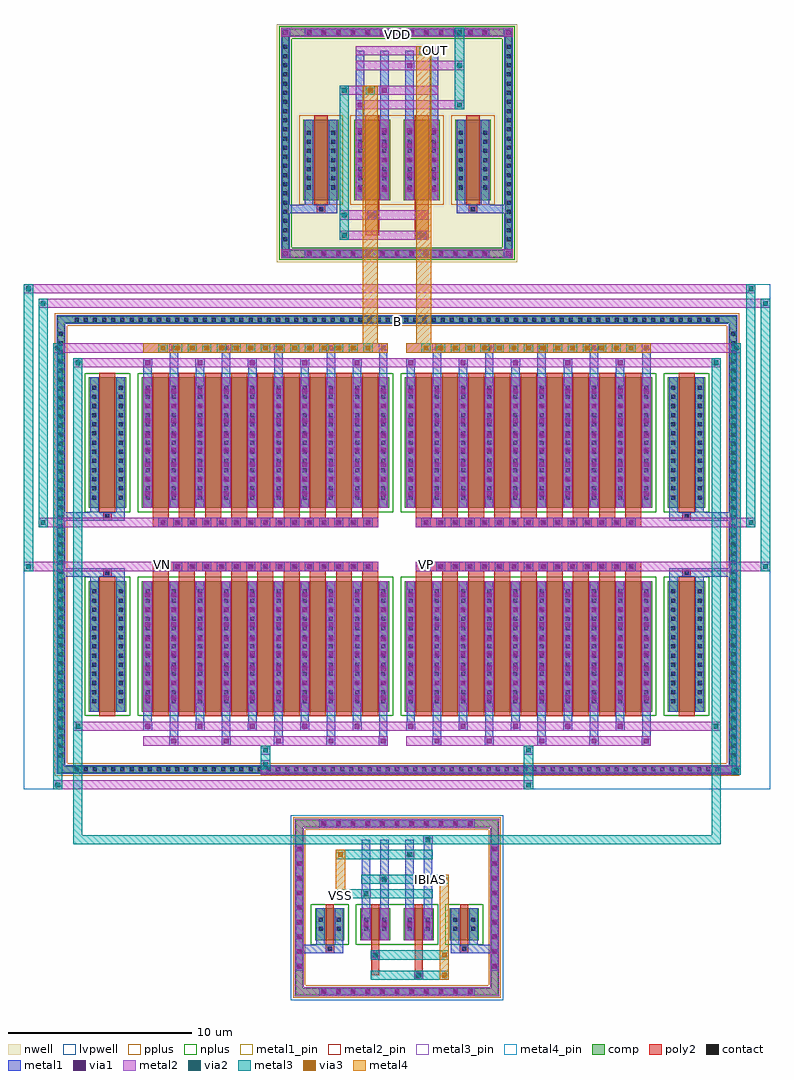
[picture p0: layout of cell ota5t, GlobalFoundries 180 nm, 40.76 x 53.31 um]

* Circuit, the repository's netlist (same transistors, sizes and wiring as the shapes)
* NGSPICE file created from ota5t.ext - technology: gf180mcuD

.subckt ota5t B VSS IBIAS VN VP VDD OUT
X0 a_n2494_1466# VP a_n2788_n760# B nfet_03v3 ad=1.9964p pd=7.69u as=1.9964p ps=7.69u w=7.13u l=0.87u
X1 a_n2788_n760# VP a_n2494_1466# B nfet_03v3 ad=1.9964p pd=7.69u as=1.9964p ps=7.69u w=7.13u l=0.87u
X2 OUT VN a_n2788_n760# B nfet_03v3 ad=1.9964p pd=7.69u as=1.9964p ps=7.69u w=7.13u l=0.87u
X3 OUT VN a_n2788_n760# B nfet_03v3 ad=1.9964p pd=7.69u as=1.9964p ps=7.69u w=7.13u l=0.87u
X4 a_n2494_1466# VP a_n2788_n760# B nfet_03v3 ad=1.9964p pd=7.69u as=4.278p ps=15.46u w=7.13u l=0.87u
X5 a_n2788_n760# IBIAS VSS B nfet_03v3 ad=1.044p pd=4.68u as=1.044p ps=4.68u w=1.74u l=0.44u
X6 a_n2788_n760# VN OUT B nfet_03v3 ad=1.9964p pd=7.69u as=1.9964p ps=7.69u w=7.13u l=0.87u
X7 B B B B nfet_03v3 ad=1.0092p pd=4.64u as=37.12p ps=0.14192m w=1.74u l=0.44u
X8 IBIAS IBIAS VSS B nfet_03v3 ad=1.044p pd=4.68u as=1.044p ps=4.68u w=1.74u l=0.44u
X9 a_n2788_n760# VN OUT B nfet_03v3 ad=1.9964p pd=7.69u as=1.9964p ps=7.69u w=7.13u l=0.87u
X10 VDD VDD VDD VDD pfet_03v3 ad=2.5636p pd=10u as=15.5584p ps=60.08u w=4.42u l=0.76u
X11 a_n2494_1466# VP a_n2788_n760# B nfet_03v3 ad=1.9964p pd=7.69u as=1.9964p ps=7.69u w=7.13u l=0.87u
X12 a_n2788_n760# VN OUT B nfet_03v3 ad=1.9964p pd=7.69u as=1.9964p ps=7.69u w=7.13u l=0.87u
X13 B B B B nfet_03v3 ad=4.1354p pd=15.42u as=0 ps=0 w=7.13u l=0.87u
X14 OUT VN a_n2788_n760# B nfet_03v3 ad=4.278p pd=15.46u as=1.9964p ps=7.69u w=7.13u l=0.87u
X15 a_n2494_1466# VP a_n2788_n760# B nfet_03v3 ad=4.278p pd=15.46u as=1.9964p ps=7.69u w=7.13u l=0.87u
X16 a_n2494_1466# VP a_n2788_n760# B nfet_03v3 ad=1.9964p pd=7.69u as=1.9964p ps=7.69u w=7.13u l=0.87u
X17 a_n2788_n760# VN OUT B nfet_03v3 ad=1.9964p pd=7.69u as=1.9964p ps=7.69u w=7.13u l=0.87u
X18 a_n2788_n760# VN OUT B nfet_03v3 ad=1.9964p pd=7.69u as=1.9964p ps=7.69u w=7.13u l=0.87u
X19 a_n2494_1466# VP a_n2788_n760# B nfet_03v3 ad=1.9964p pd=7.69u as=1.9964p ps=7.69u w=7.13u l=0.87u
X20 a_n2788_n760# VN OUT B nfet_03v3 ad=1.9964p pd=7.69u as=1.9964p ps=7.69u w=7.13u l=0.87u
X21 B B B B nfet_03v3 ad=4.1354p pd=15.42u as=0 ps=0 w=7.13u l=0.87u
X22 a_n2788_n760# VN OUT B nfet_03v3 ad=1.9964p pd=7.69u as=1.9964p ps=7.69u w=7.13u l=0.87u
X23 a_n2788_n760# VN OUT B nfet_03v3 ad=1.9964p pd=7.69u as=1.9964p ps=7.69u w=7.13u l=0.87u
X24 a_n2494_1466# a_n2494_1466# VDD VDD pfet_03v3 ad=2.652p pd=10.04u as=2.652p ps=10.04u w=4.42u l=0.76u
X25 OUT VN a_n2788_n760# B nfet_03v3 ad=1.9964p pd=7.69u as=4.278p ps=15.46u w=7.13u l=0.87u
X26 a_n2494_1466# VP a_n2788_n760# B nfet_03v3 ad=1.9964p pd=7.69u as=1.9964p ps=7.69u w=7.13u l=0.87u
X27 a_n2494_1466# VP a_n2788_n760# B nfet_03v3 ad=1.9964p pd=7.69u as=1.9964p ps=7.69u w=7.13u l=0.87u
X28 OUT VN a_n2788_n760# B nfet_03v3 ad=1.9964p pd=7.69u as=4.278p ps=15.46u w=7.13u l=0.87u
X29 OUT VN a_n2788_n760# B nfet_03v3 ad=1.9964p pd=7.69u as=1.9964p ps=7.69u w=7.13u l=0.87u
X30 VDD VDD VDD VDD pfet_03v3 ad=2.5636p pd=10u as=0 ps=0 w=4.42u l=0.76u
X31 a_n2788_n760# VP a_n2494_1466# B nfet_03v3 ad=1.9964p pd=7.69u as=1.9964p ps=7.69u w=7.13u l=0.87u
X32 OUT VN a_n2788_n760# B nfet_03v3 ad=1.9964p pd=7.69u as=1.9964p ps=7.69u w=7.13u l=0.87u
X33 a_n2788_n760# VP a_n2494_1466# B nfet_03v3 ad=1.9964p pd=7.69u as=1.9964p ps=7.69u w=7.13u l=0.87u
X34 OUT VN a_n2788_n760# B nfet_03v3 ad=1.9964p pd=7.69u as=1.9964p ps=7.69u w=7.13u l=0.87u
X35 OUT a_n2494_1466# VDD VDD pfet_03v3 ad=2.652p pd=10.04u as=2.652p ps=10.04u w=4.42u l=0.76u
X36 a_n2788_n760# VP a_n2494_1466# B nfet_03v3 ad=1.9964p pd=7.69u as=1.9964p ps=7.69u w=7.13u l=0.87u
X37 a_n2788_n760# VP a_n2494_1466# B nfet_03v3 ad=1.9964p pd=7.69u as=1.9964p ps=7.69u w=7.13u l=0.87u
X38 B B B B nfet_03v3 ad=4.1354p pd=15.42u as=0 ps=0 w=7.13u l=0.87u
X39 B B B B nfet_03v3 ad=1.0092p pd=4.64u as=0 ps=0 w=1.74u l=0.44u
X40 OUT VN a_n2788_n760# B nfet_03v3 ad=1.9964p pd=7.69u as=1.9964p ps=7.69u w=7.13u l=0.87u
X41 OUT VN a_n2788_n760# B nfet_03v3 ad=4.278p pd=15.46u as=1.9964p ps=7.69u w=7.13u l=0.87u
X42 a_n2494_1466# VP a_n2788_n760# B nfet_03v3 ad=4.278p pd=15.46u as=1.9964p ps=7.69u w=7.13u l=0.87u
X43 B B B B nfet_03v3 ad=4.1354p pd=15.42u as=0 ps=0 w=7.13u l=0.87u
X44 a_n2788_n760# VP a_n2494_1466# B nfet_03v3 ad=1.9964p pd=7.69u as=1.9964p ps=7.69u w=7.13u l=0.87u
X45 a_n2788_n760# VP a_n2494_1466# B nfet_03v3 ad=1.9964p pd=7.69u as=1.9964p ps=7.69u w=7.13u l=0.87u
X46 a_n2788_n760# VP a_n2494_1466# B nfet_03v3 ad=1.9964p pd=7.69u as=1.9964p ps=7.69u w=7.13u l=0.87u
X47 a_n2494_1466# VP a_n2788_n760# B nfet_03v3 ad=1.9964p pd=7.69u as=4.278p ps=15.46u w=7.13u l=0.87u
.ends

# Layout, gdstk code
import gdstk
lib = gdstk.Library(unit=1e-6, precision=5e-09)
def R(c, l, rs):  # rectangles x0, y0, x1, y1
    for r in rs: c.add(gdstk.rectangle(r[:2], r[2:], *l))
def A(c, l, x, y, w, h, nx, ny, dx, dy):  # array of equal rectangles
    R(c, l, [(x+i*dx, y+j*dy, x+i*dx+w, y+j*dy+h) for i in range(nx) for j in range(ny)])
def P(c, l, *ps):  # polygons
    for p in ps: c.add(gdstk.Polygon(p, *l))
nwell = (21, 0)
comp = (22, 0)
poly2 = (30, 0)
pplus = (31, 0)
nplus = (32, 0)
contact = (33, 0)
metal1 = (34, 0)
metal1_pin = (34, 10)
via1 = (35, 0)
metal2 = (36, 0)
metal2_pin = (36, 10)
via2 = (38, 0)
via3 = (40, 0)
metal3 = (42, 0)
metal3_pin = (42, 10)
metal4 = (46, 0)
metal4_pin = (46, 10)
lvpwell = (204, 0)

ota5t = lib.new_cell('ota5t')
R(ota5t, nwell, [(-6.56,20.75,6.56,33.76), (-6.4,20.91,6.4,33.6), (-5.46,21.85,5.46,32.66)])
A(ota5t, comp, -4.18, -19.27, 0.36, 0.36, 11, 2, 0.8, 9.18)
A(ota5t, comp, -5.52, -17.88, 0.36, 0.36, 1, 9, 0, 0.8)
A(ota5t, comp, 5.16, -17.88, 0.36, 0.36, 1, 9, 0, 0.8)
A(ota5t, comp, -17.68, -7.13, 0.36, 0.36, 71, 2, 0.5, 24.56)
A(ota5t, comp, -18.54, -6.35, 0.36, 0.36, 1, 47, 0, 0.5)
A(ota5t, comp, 18.18, -6.35, 0.36, 0.36, 1, 47, 0, 0.5)
A(ota5t, comp, -4.98, 21.03, 0.36, 0.36, 13, 2, 0.8, 12.09)
A(ota5t, comp, -6.28, 21.825, 0.36, 0.36, 1, 22, 0, 0.5)
A(ota5t, comp, 5.92, 21.825, 0.36, 0.36, 1, 22, 0, 0.5)
R(ota5t, comp, [(-4.18,-19.27,4.18,-18.91), (-5.52,-17.88,-5.16,-11.12), (5.16,-17.88,5.52,-11.12), (-4.47,-16.29,-2.87,-14.55), (-2.01,-16.29,-0.37,-14.55), (0.37,-16.29,2.01,-14.55), (2.87,-16.29,4.47,-14.55), (-4.18,-10.09,4.18,-9.73), (-17.68,-7.13,17.68,-6.77), (-18.54,-6.35,-18.18,17.01), (18.18,-6.35,18.54,17.01), (-16.83,-3.8,-14.8,3.33), (-13.94,-3.8,-0.43,3.33), (0.43,-3.8,13.94,3.33), (14.8,-3.8,16.83,3.33), (-16.83,7.33,-14.8,14.46), (-13.94,7.33,-0.43,14.46), (0.43,7.33,13.94,14.46), (14.8,7.33,16.83,14.46), (-17.68,17.43,17.68,17.79), (-4.98,21.03,4.98,21.39), (-6.28,21.825,-5.92,32.685), (5.92,21.825,6.28,32.685), (-5.11,24.12,-3.19,28.54), (-2.33,24.12,-0.37,28.54), (0.37,24.12,2.33,28.54), (3.19,24.12,5.11,28.54), (-4.98,33.12,4.98,33.48)])
P(ota5t, comp, [(18.54,17.79),(-18.54,17.79),(-18.54,-6.77),(-18.18,-6.77),(-18.18,17.43),(18.18,17.43),(18.18,-6.77),(-18.18,-6.77),(-18.54,-6.77),(-18.54,-7.13),(18.54,-7.13)],
  [(5.52,-9.73),(-5.52,-9.73),(-5.52,-18.91),(-5.16,-18.91),(-5.16,-10.09),(5.16,-10.09),(5.16,-18.91),(-5.16,-18.91),(-5.52,-18.91),(-5.52,-19.27),(5.52,-19.27)],
  [(6.28,33.48),(-6.28,33.48),(-6.28,21.39),(-5.92,21.39),(-5.92,33.12),(5.92,33.12),(5.92,21.39),(-5.92,21.39),(-6.28,21.39),(-6.28,21.03),(6.28,21.03)])
A(ota5t, poly2, -13.34, -4.04, 0.87, 7.61, 9, 2, 1.43, 11.13)
A(ota5t, poly2, 1.03, -4.04, 0.87, 7.61, 9, 2, 1.43, 11.13)
A(ota5t, poly2, -13.34, 3.57, 0.87, 0.305, 9, 2, 1.43, 3.215)
A(ota5t, poly2, 1.03, 3.57, 0.87, 0.305, 9, 2, 1.43, 3.215)
A(ota5t, poly2, -12.965, 3.945, 0.36, 0.36, 15, 2, 0.8, 2.41)
A(ota5t, poly2, 1.405, 3.945, 0.36, 0.36, 15, 2, 0.8, 2.41)
R(ota5t, poly2, [(0.94,-18.45,1.44,-17.95), (1.01,-18.38,1.37,-18.02), (-1.41,-18.2,-0.97,-16.53), (0.97,-17.95,1.41,-16.53), (-1.44,-17.34,-0.94,-16.84), (-1.37,-17.27,-1.01,-16.91), (-3.9,-16.99,-3.44,-16.53), (3.44,-16.99,3.9,-16.53), (-3.85,-16.94,-3.49,-16.58), (3.49,-16.94,3.85,-16.58), (-1.41,-16.84,-0.97,-16.53), (-3.89,-16.53,-3.45,-14.31), (-1.41,-16.53,-0.97,-14.31), (0.97,-16.53,1.41,-14.31), (3.45,-16.53,3.89,-14.31), (-16.25,-4.04,-15.38,3.57), (15.38,-4.04,16.25,3.57), (-16.045,3.57,-15.585,4.03), (15.585,3.57,16.045,4.03), (-15.995,3.62,-15.635,3.98), (15.635,3.62,15.995,3.98), (-13.34,3.875,-1.03,4.375), (1.03,3.875,13.34,4.375), (-13.34,6.285,-1.03,6.785), (1.03,6.285,13.34,6.785), (-16.045,6.63,-15.585,7.09), (15.585,6.63,16.045,7.09), (-15.995,6.68,-15.635,7.04), (15.635,6.68,15.995,7.04), (-16.25,7.09,-15.38,14.7), (15.38,7.09,16.25,14.7), (0.97,21.97,1.73,22.47), (1.17,22.04,1.53,22.4), (-1.73,22.22,-0.97,23.88), (0.97,22.47,1.73,23.88), (-1.73,23.08,-0.97,23.58), (-1.53,23.15,-1.17,23.51), (-4.38,23.42,-3.92,23.88), (3.92,23.42,4.38,23.88), (-4.33,23.47,-3.97,23.83), (3.97,23.47,4.33,23.83), (-1.73,23.58,-0.97,23.88), (-4.53,23.88,-3.77,28.78), (-1.73,23.88,-0.97,28.78), (0.97,23.88,1.73,28.78), (3.77,23.88,4.53,28.78)])
R(ota5t, pplus, [(-5.34,23.89,-2.96,28.77), (-2.56,23.89,-0.14,28.77), (-2.56,23.89,2.56,28.77), (0.14,23.89,2.56,28.77), (2.96,23.89,5.34,28.77)])
P(ota5t, pplus, [(18.7,17.95),(-18.7,17.95),(-18.7,-6.61),(-18.02,-6.61),(-18.02,17.27),(18.02,17.27),(18.02,-6.61),(-18.02,-6.61),(-18.7,-6.61),(-18.7,-7.29),(18.7,-7.29)],
  [(5.68,-9.57),(-5.68,-9.57),(-5.68,-18.75),(-5,-18.75),(-5,-10.25),(5,-10.25),(5,-18.75),(-5,-18.75),(-5.68,-18.75),(-5.68,-19.43),(5.68,-19.43)])
R(ota5t, nplus, [(-4.7,-16.52,-2.64,-14.32), (-2.24,-16.52,-0.14,-14.32), (-2.24,-16.52,2.24,-14.32), (0.14,-16.52,2.24,-14.32), (2.64,-16.52,4.7,-14.32), (-17.06,-4.03,-14.57,3.56), (-14.17,-4.03,-0.2,3.56), (0.2,-4.03,14.17,3.56), (14.57,-4.03,17.06,3.56), (-17.06,7.1,-14.57,14.69), (-14.17,7.1,-0.2,14.69), (0.2,7.1,14.17,14.69), (14.57,7.1,17.06,14.69)])
P(ota5t, nplus, [(6.44,33.64),(-6.44,33.64),(-6.44,21.55),(-5.76,21.55),(-5.76,32.96),(5.76,32.96),(5.76,21.55),(-5.76,21.55),(-6.44,21.55),(-6.44,20.87),(6.44,20.87)])
A(ota5t, contact, -4.11, -19.2, 0.22, 0.22, 11, 2, 0.8, 9.18)
A(ota5t, contact, -5.45, -17.81, 0.22, 0.22, 1, 9, 0, 0.8)
A(ota5t, contact, 5.23, -17.81, 0.22, 0.22, 1, 9, 0, 0.8)
A(ota5t, contact, -17.61, -7.06, 0.22, 0.22, 71, 2, 0.5, 24.56)
A(ota5t, contact, -18.47, -6.28, 0.22, 0.22, 1, 47, 0, 0.5)
A(ota5t, contact, 18.25, -6.28, 0.22, 0.22, 1, 47, 0, 0.5)
A(ota5t, contact, -16.64, -3.345, 0.22, 0.22, 1, 13, 0, 0.5)
A(ota5t, contact, -15.21, -3.345, 0.22, 0.22, 1, 13, 0, 0.5)
A(ota5t, contact, -13.73, -3.345, 0.22, 0.22, 10, 13, 1.43, 0.5)
A(ota5t, contact, 0.64, -3.345, 0.22, 0.22, 10, 13, 1.43, 0.5)
A(ota5t, contact, 14.99, -3.345, 0.22, 0.22, 1, 13, 0, 0.5)
A(ota5t, contact, 16.42, -3.345, 0.22, 0.22, 1, 13, 0, 0.5)
A(ota5t, contact, -12.895, 4.015, 0.22, 0.22, 15, 2, 0.8, 2.41)
A(ota5t, contact, 1.475, 4.015, 0.22, 0.22, 15, 2, 0.8, 2.41)
A(ota5t, contact, -16.64, 7.785, 0.22, 0.22, 1, 13, 0, 0.5)
A(ota5t, contact, -15.21, 7.785, 0.22, 0.22, 1, 13, 0, 0.5)
A(ota5t, contact, -13.73, 7.785, 0.22, 0.22, 10, 13, 1.43, 0.5)
A(ota5t, contact, 0.64, 7.785, 0.22, 0.22, 10, 13, 1.43, 0.5)
A(ota5t, contact, 14.99, 7.785, 0.22, 0.22, 1, 13, 0, 0.5)
A(ota5t, contact, 16.42, 7.785, 0.22, 0.22, 1, 13, 0, 0.5)
A(ota5t, contact, -4.91, 21.1, 0.22, 0.22, 13, 2, 0.8, 12.09)
A(ota5t, contact, -6.21, 21.895, 0.22, 0.22, 1, 22, 0, 0.5)
A(ota5t, contact, 5.99, 21.895, 0.22, 0.22, 1, 22, 0, 0.5)
A(ota5t, contact, -4.92, 24.72, 0.22, 0.22, 1, 7, 0, 0.5)
A(ota5t, contact, -3.6, 24.72, 0.22, 0.22, 1, 7, 0, 0.5)
A(ota5t, contact, -2.12, 24.72, 0.22, 0.22, 1, 7, 0, 0.5)
A(ota5t, contact, -0.8, 24.72, 0.22, 0.22, 1, 7, 0, 0.5)
A(ota5t, contact, 0.58, 24.72, 0.22, 0.22, 1, 7, 0, 0.5)
A(ota5t, contact, 1.9, 24.72, 0.22, 0.22, 1, 7, 0, 0.5)
A(ota5t, contact, 3.38, 24.72, 0.22, 0.22, 1, 7, 0, 0.5)
A(ota5t, contact, 4.7, 24.72, 0.22, 0.22, 1, 7, 0, 0.5)
R(ota5t, contact, [(1.08,-18.31,1.3,-18.09), (-1.3,-17.2,-1.08,-16.98), (-3.78,-16.87,-3.56,-16.65), (3.56,-16.87,3.78,-16.65), (-4.28,-15.78,-4.06,-15.56), (-3.28,-15.78,-3.06,-15.56), (-1.8,-15.78,-1.58,-15.56), (-0.8,-15.78,-0.58,-15.56), (0.58,-15.78,0.8,-15.56), (1.58,-15.78,1.8,-15.56), (3.06,-15.78,3.28,-15.56), (4.06,-15.78,4.28,-15.56), (-4.28,-15.28,-4.06,-15.06), (-3.28,-15.28,-3.06,-15.06), (-1.8,-15.28,-1.58,-15.06), (-0.8,-15.28,-0.58,-15.06), (0.58,-15.28,0.8,-15.06), (1.58,-15.28,1.8,-15.06), (3.06,-15.28,3.28,-15.06), (4.06,-15.28,4.28,-15.06), (-15.925,3.69,-15.705,3.91), (15.705,3.69,15.925,3.91), (-15.925,6.75,-15.705,6.97), (15.705,6.75,15.925,6.97), (1.24,22.11,1.46,22.33), (-1.46,23.22,-1.24,23.44), (-4.26,23.54,-4.04,23.76), (4.04,23.54,4.26,23.76)])
A(ota5t, metal1, -4.25, -19.34, 0.5, 0.5, 11, 2, 0.8, 9.18)
A(ota5t, metal1, -5.59, -17.95, 0.5, 0.5, 1, 9, 0, 0.8)
A(ota5t, metal1, 5.09, -17.95, 0.5, 0.5, 1, 9, 0, 0.8)
A(ota5t, metal1, -17.73, -7.18, 0.46, 0.46, 71, 2, 0.5, 24.56)
A(ota5t, metal1, -18.59, -6.4, 0.46, 0.46, 1, 47, 0, 0.5)
A(ota5t, metal1, 18.13, -6.4, 0.46, 0.46, 1, 47, 0, 0.5)
A(ota5t, metal1, -12.44, -5.65, 0.5, 0.5, 5, 2, 2.86, 21.46)
A(ota5t, metal1, -12.42, -5.65, 0.46, 1.85, 5, 2, 2.86, 20.11)
A(ota5t, metal1, 1.93, -5.65, 0.5, 0.5, 5, 2, 2.86, 21.46)
A(ota5t, metal1, 1.95, -5.65, 0.46, 1.85, 5, 2, 2.86, 20.11)
A(ota5t, metal1, -13.87, -4.85, 0.5, 0.5, 5, 2, 2.86, 19.86)
A(ota5t, metal1, -13.85, -4.85, 0.46, 1.05, 5, 2, 2.86, 19.31)
A(ota5t, metal1, 0.5, -4.85, 0.5, 0.5, 5, 2, 2.86, 19.86)
A(ota5t, metal1, 0.52, -4.85, 0.46, 1.05, 5, 2, 2.86, 19.31)
A(ota5t, metal1, -13.85, -3.8, 0.46, 7.13, 10, 2, 1.43, 11.13)
A(ota5t, metal1, 0.52, -3.8, 0.46, 7.13, 10, 2, 1.43, 11.13)
A(ota5t, metal1, -16.76, -3.465, 0.46, 0.46, 1, 13, 0, 0.5)
A(ota5t, metal1, -15.33, -3.465, 0.46, 0.46, 1, 13, 0, 0.5)
A(ota5t, metal1, -13.85, -3.465, 0.46, 0.46, 10, 13, 1.43, 0.5)
A(ota5t, metal1, 0.52, -3.465, 0.46, 0.46, 10, 13, 1.43, 0.5)
A(ota5t, metal1, 14.87, -3.465, 0.46, 0.46, 1, 13, 0, 0.5)
A(ota5t, metal1, 16.3, -3.465, 0.46, 0.46, 1, 13, 0, 0.5)
A(ota5t, metal1, -13.87, -3.285, 0.5, 0.5, 10, 8, 1.43, 0.8)
A(ota5t, metal1, -13.87, -3.285, 0.5, 6.1, 10, 2, 1.43, 11.13)
A(ota5t, metal1, 0.5, -3.285, 0.5, 0.5, 10, 8, 1.43, 0.8)
A(ota5t, metal1, 0.5, -3.285, 0.5, 6.1, 10, 2, 1.43, 11.13)
A(ota5t, metal1, -13.035, 3.875, 0.5, 0.5, 15, 2, 0.8, 2.41)
A(ota5t, metal1, 1.335, 3.875, 0.5, 0.5, 15, 2, 0.8, 2.41)
A(ota5t, metal1, -16.76, 7.665, 0.46, 0.46, 1, 13, 0, 0.5)
A(ota5t, metal1, -15.33, 7.665, 0.46, 0.46, 1, 13, 0, 0.5)
A(ota5t, metal1, -13.85, 7.665, 0.46, 0.46, 10, 13, 1.43, 0.5)
A(ota5t, metal1, 0.52, 7.665, 0.46, 0.46, 10, 13, 1.43, 0.5)
A(ota5t, metal1, 14.87, 7.665, 0.46, 0.46, 1, 13, 0, 0.5)
A(ota5t, metal1, 16.3, 7.665, 0.46, 0.46, 1, 13, 0, 0.5)
A(ota5t, metal1, -13.87, 7.845, 0.5, 0.5, 10, 8, 1.43, 0.8)
A(ota5t, metal1, 0.5, 7.845, 0.5, 0.5, 10, 8, 1.43, 0.8)
A(ota5t, metal1, -5.05, 20.96, 0.5, 0.5, 13, 2, 0.8, 12.09)
A(ota5t, metal1, -6.33, 21.775, 0.46, 0.46, 1, 22, 0, 0.5)
A(ota5t, metal1, 5.87, 21.775, 0.46, 0.46, 1, 22, 0, 0.5)
A(ota5t, metal1, -2.26, 24.48, 0.5, 0.5, 1, 5, 0, 0.8)
A(ota5t, metal1, -0.94, 24.48, 0.5, 0.5, 1, 5, 0, 0.8)
A(ota5t, metal1, 0.44, 24.48, 0.5, 0.5, 1, 5, 0, 0.8)
A(ota5t, metal1, 1.76, 24.48, 0.5, 0.5, 1, 5, 0, 0.8)
A(ota5t, metal1, -5.04, 24.6, 0.46, 0.46, 1, 7, 0, 0.5)
A(ota5t, metal1, -3.72, 24.6, 0.46, 0.46, 1, 7, 0, 0.5)
A(ota5t, metal1, -2.24, 24.6, 0.46, 0.46, 1, 7, 0, 0.5)
A(ota5t, metal1, -0.92, 24.6, 0.46, 0.46, 1, 7, 0, 0.5)
A(ota5t, metal1, 0.46, 24.6, 0.46, 0.46, 1, 7, 0, 0.5)
A(ota5t, metal1, 1.78, 24.6, 0.46, 0.46, 1, 7, 0, 0.5)
A(ota5t, metal1, 3.26, 24.6, 0.46, 0.46, 1, 7, 0, 0.5)
A(ota5t, metal1, 4.58, 24.6, 0.46, 0.46, 1, 7, 0, 0.5)
R(ota5t, metal1, [(-4.25,-19.34,4.25,-18.84), (0.94,-18.45,1.44,-17.95), (-5.59,-17.95,-5.09,-11.05), (5.09,-17.95,5.59,-11.05), (-1.44,-17.34,-0.94,-16.84), (-5.59,-16.99,-3.9,-16.53), (-4.4,-16.99,-3.94,-16.29), (-4.4,-16.99,-3.9,-16.53), (-3.9,-16.99,-3.44,-16.53), (-3.44,-16.99,-2.94,-16.53), (-3.4,-16.99,-2.94,-16.29), (2.94,-16.99,3.4,-16.29), (2.94,-16.99,3.44,-16.53), (3.44,-16.99,3.9,-16.53), (3.9,-16.99,4.4,-16.53), (3.9,-16.99,5.59,-16.53), (3.94,-16.99,4.4,-16.29), (-4.4,-16.29,-3.94,-14.55), (-3.4,-16.29,-2.94,-14.55), (-1.92,-16.29,-1.46,-14.55), (-0.92,-16.29,-0.46,-14.55), (0.46,-16.29,0.92,-14.55), (1.46,-16.29,1.92,-14.55), (2.94,-16.29,3.4,-14.55), (3.94,-16.29,4.4,-14.55), (-4.4,-15.9,-3.94,-15.44), (-3.4,-15.9,-2.94,-15.44), (-1.92,-15.9,-1.46,-15.44), (-0.92,-15.9,-0.46,-15.44), (0.46,-15.9,0.92,-15.44), (1.46,-15.9,1.92,-15.44), (2.94,-15.9,3.4,-15.44), (3.94,-15.9,4.4,-15.44), (-1.94,-15.67,-1.44,-15.17), (-1.94,-15.67,-1.44,-15.17), (-0.94,-15.67,-0.44,-15.17), (-0.94,-15.67,-0.44,-15.17), (0.44,-15.67,0.94,-15.17), (0.44,-15.67,0.94,-15.17), (1.44,-15.67,1.94,-15.17), (1.44,-15.67,1.94,-15.17), (-4.4,-15.4,-3.94,-14.94), (-3.4,-15.4,-2.94,-14.94), (-1.92,-15.4,-1.46,-14.94), (-0.92,-15.4,-0.46,-14.94), (0.46,-15.4,0.92,-14.94), (1.46,-15.4,1.92,-14.94), (2.94,-15.4,3.4,-14.94), (3.94,-15.4,4.4,-14.94), (-1.92,-14.55,-1.46,-13.5), (-1.92,-14.55,-1.46,-10.8), (-0.92,-14.55,-0.46,-12.7), (-0.92,-14.55,-0.46,-10.8), (0.46,-14.55,0.92,-11.35), (0.46,-14.55,0.92,-10.8), (1.46,-14.55,1.92,-10.55), (1.46,-14.55,1.92,-10.8), (-1.94,-14,-1.44,-13.5), (-0.94,-13.2,-0.44,-12.7), (0.44,-11.85,0.94,-11.35), (1.44,-11.05,1.94,-10.55), (-4.25,-10.16,4.25,-9.66), (-18.59,-7.18,-18.18,-6.72), (-18.59,-7.18,-18.13,-6.77), (-18.18,-7.18,18.18,-6.72), (18.13,-7.18,18.59,-6.77), (18.18,-7.18,18.59,-6.72), (-18.59,-6.77,-18.13,17.43), (18.13,-6.77,18.59,17.43), (-16.76,-3.8,-16.3,3.33), (-15.33,-3.8,-14.87,3.33), (14.87,-3.8,15.33,3.33), (16.3,-3.8,16.76,3.33), (-16.76,3.33,-16.3,4.03), (-15.33,3.33,-14.87,4.03), (14.87,3.33,15.33,4.03), (16.3,3.33,16.76,4.03), (-18.59,3.57,-16.045,4.03), (-16.76,3.57,-16.045,4.03), (-16.045,3.57,-15.585,4.03), (-15.585,3.57,-14.87,4.03), (14.87,3.57,15.585,4.03), (15.585,3.57,16.045,4.03), (15.585,3.57,18.59,4.03), (16.045,3.57,16.76,4.03), (-18.59,6.63,-16.045,7.09), (-16.76,6.63,-16.045,7.09), (-16.76,6.63,-16.3,7.33), (-16.045,6.63,-15.585,7.09), (-15.585,6.63,-14.87,7.09), (-15.33,6.63,-14.87,7.33), (14.87,6.63,15.585,7.09), (14.87,6.63,15.33,7.33), (15.585,6.63,16.045,7.09), (15.585,6.63,18.59,7.09), (16.045,6.63,16.76,7.09), (16.3,6.63,16.76,7.33), (-16.76,7.33,-16.3,14.46), (-15.33,7.33,-14.87,14.46), (14.87,7.33,15.33,14.46), (16.3,7.33,16.76,14.46), (-18.59,17.38,-18.18,17.84), (-18.18,17.38,18.18,17.84), (18.18,17.38,18.59,17.84), (-18.59,17.43,-18.13,17.84), (18.13,17.43,18.59,17.84), (-6.33,20.96,-5.83,21.46), (-6.33,20.96,-5.83,21.46), (-6.33,20.96,-5.87,21.39), (-5.05,20.96,5.05,21.46), (5.83,20.96,6.33,21.46), (5.83,20.96,6.33,21.46), (5.87,20.96,6.33,21.39), (-6.33,21.39,-5.87,33.12), (5.87,21.39,6.33,33.12), (1.1,21.97,1.6,22.47), (-1.6,23.08,-1.1,23.58), (-6.33,23.42,-4.38,23.88), (-5.04,23.42,-4.58,24.12), (-5.04,23.42,-4.38,23.88), (-4.38,23.42,-3.92,23.88), (-3.92,23.42,-3.26,23.88), (-3.72,23.42,-3.26,24.12), (3.26,23.42,3.72,24.12), (3.26,23.42,3.92,23.88), (3.92,23.42,4.38,23.88), (4.38,23.42,5.04,23.88), (4.38,23.42,6.33,23.88), (4.58,23.42,5.04,24.12), (-5.04,24.12,-4.58,28.54), (-3.72,24.12,-3.26,28.54), (-2.24,24.12,-1.78,28.54), (-0.92,24.12,-0.46,28.54), (0.46,24.12,0.92,28.54), (1.78,24.12,2.24,28.54), (3.26,24.12,3.72,28.54), (4.58,24.12,5.04,28.54), (-2.26,24.48,-1.76,28.18), (-0.94,24.48,-0.44,28.18), (0.44,24.48,0.94,28.18), (1.76,24.48,2.26,28.18), (-2.24,28.54,-1.78,29.59), (-2.24,28.54,-1.78,32.29), (-0.92,28.54,-0.46,30.39), (-0.92,28.54,-0.46,32.29), (0.46,28.54,0.92,31.74), (0.46,28.54,0.92,32.29), (1.78,28.54,2.24,32.54), (1.78,28.54,2.24,32.29), (-2.26,29.09,-1.76,29.59), (-0.94,29.89,-0.44,30.39), (0.44,31.24,0.94,31.74), (1.76,32.04,2.26,32.54), (-6.33,33.05,-5.83,33.55), (-6.33,33.05,-5.83,33.55), (-5.05,33.05,5.05,33.55), (5.83,33.05,6.33,33.55), (5.83,33.05,6.33,33.55), (-6.33,33.12,-5.87,33.55), (5.87,33.12,6.33,33.55)])
R(ota5t, metal1_pin, [(-0.135,17.38,0.135,17.65), (-0.135,17.38,0.135,17.65)])
A(ota5t, via1, -4.13, -19.22, 0.26, 0.26, 11, 2, 0.8, 9.18)
A(ota5t, via1, -5.47, -17.83, 0.26, 0.26, 1, 9, 0, 0.8)
A(ota5t, via1, 5.21, -17.83, 0.26, 0.26, 1, 9, 0, 0.8)
A(ota5t, via1, -12.32, -5.53, 0.26, 0.26, 5, 2, 2.86, 21.46)
A(ota5t, via1, 2.05, -5.53, 0.26, 0.26, 5, 2, 2.86, 21.46)
A(ota5t, via1, -13.75, -4.73, 0.26, 0.26, 5, 2, 2.86, 19.86)
A(ota5t, via1, 0.62, -4.73, 0.26, 0.26, 5, 2, 2.86, 19.86)
A(ota5t, via1, -13.75, -3.165, 0.26, 0.26, 10, 8, 1.43, 0.8)
A(ota5t, via1, 0.62, -3.165, 0.26, 0.26, 10, 8, 1.43, 0.8)
A(ota5t, via1, -12.915, 3.995, 0.26, 0.26, 15, 2, 0.8, 2.41)
A(ota5t, via1, 1.455, 3.995, 0.26, 0.26, 15, 2, 0.8, 2.41)
A(ota5t, via1, -13.75, 7.965, 0.26, 0.26, 10, 8, 1.43, 0.8)
A(ota5t, via1, 0.62, 7.965, 0.26, 0.26, 10, 8, 1.43, 0.8)
A(ota5t, via1, -4.93, 21.08, 0.26, 0.26, 13, 2, 0.8, 12.09)
A(ota5t, via1, -2.14, 24.6, 0.26, 0.26, 1, 5, 0, 0.8)
A(ota5t, via1, -0.82, 24.6, 0.26, 0.26, 1, 5, 0, 0.8)
A(ota5t, via1, 0.56, 24.6, 0.26, 0.26, 1, 5, 0, 0.8)
A(ota5t, via1, 1.88, 24.6, 0.26, 0.26, 1, 5, 0, 0.8)
R(ota5t, via1, [(1.06,-18.33,1.32,-18.07), (-1.32,-17.22,-1.06,-16.96), (-1.82,-15.55,-1.56,-15.29), (-0.82,-15.55,-0.56,-15.29), (0.56,-15.55,0.82,-15.29), (1.56,-15.55,1.82,-15.29), (-1.82,-13.88,-1.56,-13.62), (-0.82,-13.08,-0.56,-12.82), (0.56,-11.73,0.82,-11.47), (1.56,-10.93,1.82,-10.67), (-6.21,21.08,-5.95,21.34), (5.95,21.08,6.21,21.34), (1.22,22.09,1.48,22.35), (-1.48,23.2,-1.22,23.46), (-2.14,29.21,-1.88,29.47), (-0.82,30.01,-0.56,30.27), (0.56,31.36,0.82,31.62), (1.88,32.16,2.14,32.42), (-6.21,33.17,-5.95,33.43), (5.95,33.17,6.21,33.43)])
A(ota5t, metal2, -4.25, -19.34, 0.5, 0.5, 11, 2, 0.8, 9.18)
A(ota5t, metal2, -5.59, -17.95, 0.5, 0.5, 1, 9, 0, 0.8)
A(ota5t, metal2, 5.09, -17.95, 0.5, 0.5, 1, 9, 0, 0.8)
A(ota5t, metal2, -12.44, -5.65, 0.5, 0.5, 5, 2, 2.86, 21.46)
A(ota5t, metal2, 1.93, -5.65, 0.5, 0.5, 5, 2, 2.86, 21.46)
A(ota5t, metal2, -13.87, -4.85, 0.5, 0.5, 5, 2, 2.86, 19.86)
A(ota5t, metal2, 0.5, -4.85, 0.5, 0.5, 5, 2, 2.86, 19.86)
A(ota5t, metal2, -13.87, -3.8, 0.5, 7.13, 10, 2, 1.43, 11.13)
A(ota5t, metal2, 0.5, -3.8, 0.5, 7.13, 10, 2, 1.43, 11.13)
A(ota5t, metal2, -13.87, -3.285, 0.5, 0.5, 10, 8, 1.43, 0.8)
A(ota5t, metal2, 0.5, -3.285, 0.5, 0.5, 10, 8, 1.43, 0.8)
A(ota5t, metal2, -13.035, 3.875, 0.5, 0.5, 15, 2, 0.8, 2.41)
A(ota5t, metal2, 1.335, 3.875, 0.5, 0.5, 15, 2, 0.8, 2.41)
A(ota5t, metal2, -13.87, 7.845, 0.5, 0.5, 10, 8, 1.43, 0.8)
A(ota5t, metal2, 0.5, 7.845, 0.5, 0.5, 10, 8, 1.43, 0.8)
A(ota5t, metal2, -5.05, 20.96, 0.5, 0.5, 13, 1, 0.8, 0)
A(ota5t, metal2, -2.26, 24.48, 0.5, 0.5, 1, 5, 0, 0.8)
A(ota5t, metal2, -0.94, 24.48, 0.5, 0.5, 1, 5, 0, 0.8)
A(ota5t, metal2, 0.44, 24.48, 0.5, 0.5, 1, 5, 0, 0.8)
A(ota5t, metal2, 1.76, 24.48, 0.5, 0.5, 1, 5, 0, 0.8)
A(ota5t, metal2, -5.05, 33.05, 0.5, 0.5, 11, 1, 0.8, 0)
R(ota5t, metal2, [(-5.59,-19.34,-5.16,-18.84), (-5.59,-19.34,-5.09,-18.91), (-5.16,-19.34,5.16,-18.84), (5.09,-19.34,5.59,-18.91), (5.16,-19.34,5.59,-18.84), (-5.59,-18.91,-5.09,-10.09), (5.09,-18.91,5.59,-10.09), (0.94,-18.45,1.44,-17.95), (-1.44,-17.34,-0.94,-16.84), (-1.94,-16.29,-1.44,-14.55), (-0.94,-16.29,-0.44,-14.55), (0.44,-16.29,0.94,-14.55), (1.44,-16.29,1.94,-14.55), (-1.94,-15.67,-1.44,-15.17), (-0.94,-15.67,-0.44,-15.17), (0.44,-15.67,0.94,-15.17), (1.44,-15.67,1.94,-15.17), (-1.94,-14,-1.44,-13.5), (-0.94,-13.2,-0.44,-12.7), (0.44,-11.85,0.94,-11.35), (1.44,-11.05,1.94,-10.55), (-5.59,-10.16,-5.16,-9.66), (-5.16,-10.16,5.16,-9.66), (5.16,-10.16,5.59,-9.66), (-5.59,-10.09,-5.09,-9.66), (5.09,-10.09,5.59,-9.66), (-18.78,-8.05,-18.28,-7.55), (-18.78,-8.05,7.435,-7.55), (6.935,-8.05,7.435,-7.55), (-7.435,-7.25,18.78,-6.75), (18.28,-7.25,18.78,-6.75), (-7.435,-6.95,-6.935,-6.45), (-7.435,-6.15,-6.935,-5.65), (6.935,-6.15,7.435,-5.65), (-13.87,-5.65,-0.5,-5.15), (0.5,-5.65,13.87,-5.15), (-17.68,-4.85,-17.18,-4.35), (-17.68,-4.85,-13.87,-4.35), (-13.87,-4.85,-0.5,-4.35), (-0.5,-4.85,0.5,-4.35), (0.5,-4.85,13.87,-4.35), (13.87,-4.85,17.68,-4.35), (17.18,-4.85,17.68,-4.35), (-20.38,3.875,-19.88,4.375), (-20.38,3.875,-1.03,4.375), (-13.34,3.875,-1.03,4.375), (1.03,3.875,13.34,4.375), (1.03,3.875,20.38,4.375), (19.88,3.875,20.38,4.375), (-19.58,6.285,-19.08,6.785), (-19.58,6.285,-13.34,6.785), (-13.34,6.285,-1.03,6.785), (1.03,6.285,13.34,6.785), (13.34,6.285,19.58,6.785), (19.08,6.285,19.58,6.785), (-17.68,15.01,-17.18,15.51), (-17.68,15.01,-13.87,15.51), (-13.87,15.01,-0.5,15.51), (-0.5,15.01,0.5,15.51), (0.5,15.01,13.87,15.51), (13.87,15.01,17.68,15.51), (17.18,15.01,17.68,15.51), (-18.78,15.81,-18.28,16.31), (-18.78,15.81,-13.87,16.31), (-13.87,15.81,-0.5,16.31), (0.5,15.81,13.87,16.31), (13.87,15.81,18.78,16.31), (18.28,15.81,18.78,16.31), (-19.58,18.25,-19.08,18.75), (-19.58,18.25,-17.18,18.75), (-17.18,18.25,17.18,18.75), (17.18,18.25,20.38,18.75), (19.88,18.25,20.38,18.75), (-20.38,19.05,-19.88,19.55), (-20.38,19.05,-17.18,19.55), (-17.18,19.05,17.18,19.55), (17.18,19.05,19.58,19.55), (19.08,19.05,19.58,19.55), (-6.33,20.96,-5.83,21.46), (-6.33,20.96,-5.83,21.46), (-6.33,20.96,-5.92,21.46), (-5.92,20.96,5.92,21.46), (5.83,20.96,6.33,21.46), (5.83,20.96,6.33,21.46), (5.92,20.96,6.33,21.46), (-3.13,21.97,-2.63,22.47), (-3.13,21.97,-1.73,22.47), (-1.73,21.97,1.73,22.47), (0.97,21.97,1.73,22.47), (1.1,21.97,1.6,22.47), (-3.13,23.08,-2.63,23.58), (-3.13,23.08,-1.73,23.58), (-1.73,23.08,-0.97,23.58), (-1.73,23.08,1.73,23.58), (-1.6,23.08,-1.1,23.58), (-2.26,24.12,-1.76,28.54), (-0.94,24.12,-0.44,28.54), (0.44,24.12,0.94,28.54), (1.76,24.12,2.26,28.54), (-2.26,29.09,-1.76,29.59), (-2.26,29.09,-0.44,29.59), (-2.26,29.09,2.26,29.59), (2.26,29.09,3.66,29.59), (3.16,29.09,3.66,29.59), (-3.13,29.89,-2.63,30.39), (-3.13,29.89,-2.63,30.39), (-3.13,29.89,-2.26,30.39), (-2.26,29.89,-0.44,30.39), (-2.26,29.89,2.26,30.39), (-0.94,29.89,-0.44,30.39), (-2.26,31.24,2.26,31.74), (0.44,31.24,0.94,31.74), (0.44,31.24,2.26,31.74), (2.26,31.24,3.66,31.74), (3.16,31.24,3.66,31.74), (-2.26,32.04,2.26,32.54), (0.44,32.04,2.26,32.54), (1.76,32.04,2.26,32.54), (-6.33,33.05,-5.83,33.55), (-6.33,33.05,-5.83,33.55), (-6.33,33.05,-5.92,33.55), (-5.92,33.05,5.92,33.55), (3.16,33.05,3.66,33.55), (3.75,33.05,4.25,33.55), (4.55,33.05,5.05,33.55), (5.83,33.05,6.33,33.55), (5.83,33.05,6.33,33.55), (5.92,33.05,6.33,33.55)])
R(ota5t, metal2_pin, [(-12.92,4.105,-12.65,4.375), (-12.92,4.105,-12.65,4.375), (1.45,4.105,1.72,4.375), (1.45,4.105,1.72,4.375), (-7.32,16.04,-7.05,16.31), (7.05,16.04,7.32,16.31), (1.99,32.155,2.26,32.425), (-0.135,33.05,0.135,33.32)])
A(ota5t, via2, -12.915, 15.93, 0.26, 0.26, 15, 1, 0.8, 0)
A(ota5t, via2, 1.455, 15.93, 0.26, 0.26, 15, 1, 0.8, 0)
R(ota5t, via2, [(1.06,-18.33,1.32,-18.07), (-1.32,-17.22,-1.06,-16.96), (-1.82,-13.88,-1.56,-13.62), (-0.82,-13.08,-0.56,-12.82), (0.56,-11.73,0.82,-11.47), (1.56,-10.93,1.82,-10.67), (-18.66,-7.93,-18.4,-7.67), (7.055,-7.93,7.315,-7.67), (18.4,-7.13,18.66,-6.87), (-7.315,-6.83,-7.055,-6.57), (-7.315,-6.03,-7.055,-5.77), (7.055,-6.03,7.315,-5.77), (-17.56,-4.73,-17.3,-4.47), (17.3,-4.73,17.56,-4.47), (-20.26,3.995,-20,4.255), (20,3.995,20.26,4.255), (-19.46,6.405,-19.2,6.665), (19.2,6.405,19.46,6.665), (-17.56,15.13,-17.3,15.39), (17.3,15.13,17.56,15.39), (-18.66,15.93,-18.4,16.19), (18.4,15.93,18.66,16.19), (-19.46,18.37,-19.2,18.63), (20,18.37,20.26,18.63), (-20.26,19.17,-20,19.43), (19.2,19.17,19.46,19.43), (-3.01,22.09,-2.75,22.35), (-3.01,23.2,-2.75,23.46), (3.28,29.21,3.54,29.47), (-3.01,30.01,-2.75,30.27), (-1.59,30.01,-1.33,30.27), (3.28,31.36,3.54,31.62), (1.33,32.16,1.59,32.42), (3.28,33.17,3.54,33.43)])
A(ota5t, via3, -12.915, 15.93, 0.26, 0.26, 15, 1, 0.8, 0)
A(ota5t, via3, 1.455, 15.93, 0.26, 0.26, 15, 1, 0.8, 0)
R(ota5t, via3, [(2.46,-18.33,2.72,-18.07), (2.46,-17.22,2.72,-16.96), (-3.22,-13.88,-2.96,-13.62), (2.46,-13.08,2.72,-12.82), (-3.22,-11.73,-2.96,-11.47), (-1.59,30.01,-1.33,30.27), (1.33,32.16,1.59,32.42)])
A(ota5t, metal3, -13.035, 15.81, 0.5, 0.5, 15, 1, 0.8, 0)
A(ota5t, metal3, 1.335, 15.81, 0.5, 0.5, 15, 1, 0.8, 0)
R(ota5t, metal3, [(-1.44,-18.45,1.44,-17.95), (0.94,-18.45,1.44,-17.95), (0.94,-18.45,1.44,-17.95), (1.44,-18.45,2.84,-17.95), (2.34,-18.45,2.84,-17.95), (-1.44,-17.34,-0.94,-16.84), (-1.44,-17.34,-0.94,-16.84), (-1.44,-17.34,1.44,-16.84), (1.44,-17.34,2.84,-16.84), (2.34,-17.34,2.84,-16.84), (-3.34,-14,-2.84,-13.5), (-3.34,-14,-1.94,-13.5), (-1.94,-14,-1.44,-13.5), (-1.94,-14,-0.44,-13.5), (-1.94,-14,1.94,-13.5), (-1.94,-13.2,-0.44,-12.7), (-1.94,-13.2,1.94,-12.7), (-0.94,-13.2,-0.44,-12.7), (1.94,-13.2,2.84,-12.7), (2.34,-13.2,2.84,-12.7), (2.34,-13.2,2.84,-12.7), (-3.34,-11.85,-2.84,-11.35), (-3.34,-11.85,-1.94,-11.35), (-1.94,-11.85,1.94,-11.35), (0.44,-11.85,0.94,-11.35), (0.44,-11.85,1.94,-11.35), (-17.68,-11.05,-1.94,-10.55), (-17.68,-11.05,-17.18,-4.85), (-1.94,-11.05,1.94,-10.55), (0.44,-11.05,1.94,-10.55), (1.44,-11.05,1.94,-10.55), (1.94,-11.05,17.68,-10.55), (17.18,-11.05,17.68,-4.85), (-18.78,-8.05,-18.28,-7.55), (-18.78,-8.05,-18.28,-7.55), (-18.78,-8.05,-18.28,16.31), (6.935,-8.05,7.435,-7.55), (6.935,-7.55,7.435,-6.15), (18.28,-7.25,18.78,-6.75), (18.28,-7.25,18.78,-6.75), (18.28,-7.25,18.78,16.31), (-7.435,-6.95,-6.935,-6.45), (-7.435,-6.45,-6.935,-6.15), (-7.435,-6.15,-6.935,-5.65), (6.935,-6.15,7.435,-5.65), (-17.68,-4.85,-17.18,-4.35), (-17.68,-4.85,-17.18,-4.35), (-17.68,-4.85,-17.18,15.51), (17.18,-4.85,17.68,-4.35), (17.18,-4.85,17.68,-4.35), (17.18,-4.85,17.68,15.51), (-20.38,3.875,-19.88,4.375), (-20.38,3.875,-19.88,4.375), (-20.38,3.875,-19.88,19.55), (19.88,3.875,20.38,4.375), (19.88,3.875,20.38,4.375), (19.88,3.875,20.38,18.75), (-19.58,6.285,-19.08,6.785), (-19.58,6.285,-19.08,6.785), (-19.58,6.285,-19.08,18.75), (19.08,6.285,19.58,6.785), (19.08,6.285,19.58,6.785), (19.08,6.285,19.58,19.55), (-17.68,15.01,-17.18,15.51), (-17.68,15.01,-17.18,15.51), (17.18,15.01,17.68,15.51), (17.18,15.01,17.68,15.51), (-18.78,15.81,-18.28,16.31), (-18.78,15.81,-18.28,16.31), (18.28,15.81,18.78,16.31), (18.28,15.81,18.78,16.31), (-19.58,18.25,-19.08,18.75), (-19.58,18.25,-19.08,18.75), (19.88,18.25,20.38,18.75), (19.88,18.25,20.38,18.75), (-20.38,19.05,-19.88,19.55), (-20.38,19.05,-19.88,19.55), (19.08,19.05,19.58,19.55), (19.08,19.05,19.58,19.55), (-3.13,21.97,-2.63,22.47), (-3.13,21.97,-2.63,22.47), (-3.13,21.97,-2.63,23.58), (-3.13,23.08,-2.63,23.58), (-3.13,23.08,-2.63,23.58), (-3.13,23.58,-2.63,30.39), (3.16,29.09,3.66,29.59), (3.16,29.09,3.66,29.59), (3.16,29.09,3.66,31.74), (-3.13,29.89,-2.63,30.39), (-3.13,29.89,-2.63,30.39), (-1.71,29.89,-1.21,30.39), (3.16,31.24,3.66,31.74), (3.16,31.24,3.66,31.74), (3.16,31.74,3.66,33.05), (1.21,32.04,1.71,32.54), (3.16,33.05,3.66,33.55)])
P(ota5t, metal3, [(20.38,3.875),(20.38,3.875),(20.38,4.375),(20.38,4.375)],
  [(20.38,18.25),(20.38,18.25),(20.38,18.75),(20.38,18.75)],
  [(-19.88,3.875),(-19.88,3.875),(-19.88,4.375),(-19.88,4.375)],
  [(-19.88,19.05),(-19.88,19.05),(-19.88,19.55),(-19.88,19.55)],
  [(19.58,6.285),(19.58,6.285),(19.58,6.785),(19.58,6.785)],
  [(19.58,19.05),(19.58,19.05),(19.58,19.55),(19.58,19.55)],
  [(-19.08,6.285),(-19.08,6.285),(-19.08,6.785),(-19.08,6.785)],
  [(-19.08,18.25),(-19.08,18.25),(-19.08,18.75),(-19.08,18.75)],
  [(-18.28,-8.05),(-18.28,-8.05),(-18.28,-7.55),(-18.28,-7.55)],
  [(-18.28,15.81),(-18.28,15.81),(-18.28,16.31),(-18.28,16.31)],
  [(18.78,-7.25),(18.78,-7.25),(18.78,-6.75),(18.78,-6.75)],
  [(18.78,15.81),(18.78,15.81),(18.78,16.31),(18.78,16.31)],
  [(-17.18,-4.85),(-17.18,-4.85),(-17.18,-4.35),(-17.18,-4.35)],
  [(-17.18,15.01),(-17.18,15.01),(-17.18,15.51),(-17.18,15.51)],
  [(17.68,-4.85),(17.68,-4.85),(17.68,-4.35),(17.68,-4.35)],
  [(17.68,15.01),(17.68,15.01),(17.68,15.51),(17.68,15.51)],
  [(3.66,29.09),(3.66,29.09),(3.66,29.59),(3.66,29.59)],
  [(3.66,31.24),(3.66,31.24),(3.66,31.74),(3.66,31.74)],
  [(-2.63,21.97),(-2.63,21.97),(-2.63,22.47),(-2.63,22.47)],
  [(-2.63,23.08),(-2.63,23.08),(-2.63,23.58),(-2.63,23.58)])
R(ota5t, metal3_pin, [(1.67,-13.085,1.94,-12.815), (1.67,-13.085,1.94,-12.815)])
A(ota5t, metal4, -13.035, 15.81, 0.5, 0.5, 15, 1, 0.8, 0)
A(ota5t, metal4, 1.335, 15.81, 0.5, 0.5, 15, 1, 0.8, 0)
R(ota5t, metal4, [(2.34,-18.45,2.84,-17.95), (2.34,-18.45,2.84,-17.95), (2.34,-18.45,2.84,-16.84), (2.34,-17.34,2.84,-16.84), (2.34,-17.34,2.84,-16.84), (2.34,-16.84,2.84,-12.7), (-3.34,-14,-2.84,-13.5), (-3.34,-14,-2.84,-13.5), (-3.34,-14,-2.84,-11.35), (2.34,-13.2,2.84,-12.7), (2.34,-13.2,2.84,-12.7), (-3.34,-11.85,-2.84,-11.35), (-3.34,-11.85,-2.84,-11.35), (-13.87,15.81,-0.5,16.31), (-13.67,15.81,-0.7,16.31), (0.5,15.81,13.87,16.31), (0.7,15.81,13.67,16.31), (-1.86,16.06,-1.06,30.14), (1.06,16.06,1.86,32.29), (-1.86,29.89,-1.06,30.39), (-1.71,29.89,-1.21,30.39), (1.06,32.04,1.86,32.54), (1.21,32.04,1.71,32.54)])
P(ota5t, metal4, [(2.84,-18.45),(2.84,-18.45),(2.84,-17.95),(2.84,-17.95)],
  [(2.84,-17.34),(2.84,-17.34),(2.84,-16.84),(2.84,-16.84)],
  [(-2.84,-14),(-2.84,-14),(-2.84,-13.5),(-2.84,-13.5)],
  [(-2.84,-11.85),(-2.84,-11.85),(-2.84,-11.35),(-2.84,-11.35)])
R(ota5t, metal4_pin, [(-3.225,-14,-2.955,-13.73), (-3.225,-14,-2.955,-13.73)])
R(ota5t, lvpwell, [(-5.8,-19.55,5.8,-9.45), (-20.38,-8.05,20.38,19.55), (-17.18,-5.77,-0.08,4.495), (0.08,-5.77,17.18,4.495), (-17.18,6.165,-0.08,16.43), (0.08,6.165,17.18,16.43)])
ota5t.add(gdstk.Label('B', (0,17.515), layer=34, texttype=10))
ota5t.add(gdstk.Label('VSS', (-3.09,-13.865), layer=46, texttype=10))
ota5t.add(gdstk.Label('IBIAS', (1.805,-12.95), layer=42, texttype=10))
ota5t.add(gdstk.Label('VN', (-12.785,4.24), layer=36, texttype=10))
ota5t.add(gdstk.Label('VP', (1.585,4.24), layer=36, texttype=10))
ota5t.add(gdstk.Label('VDD', (0,33.185), layer=36, texttype=10))
ota5t.add(gdstk.Label('B', (0,17.515), layer=34, texttype=10))
ota5t.add(gdstk.Label('VSS', (-3.09,-13.865), layer=46, texttype=10))
ota5t.add(gdstk.Label('IBIAS', (1.805,-12.95), layer=42, texttype=10))
ota5t.add(gdstk.Label('OUT', (2.125,32.29), layer=36, texttype=10))
ota5t.add(gdstk.Label('VN', (-12.785,4.24), layer=36, texttype=10))
ota5t.add(gdstk.Label('VP', (1.585,4.24), layer=36, texttype=10))

lib.write_gds('ota5t.gds')
